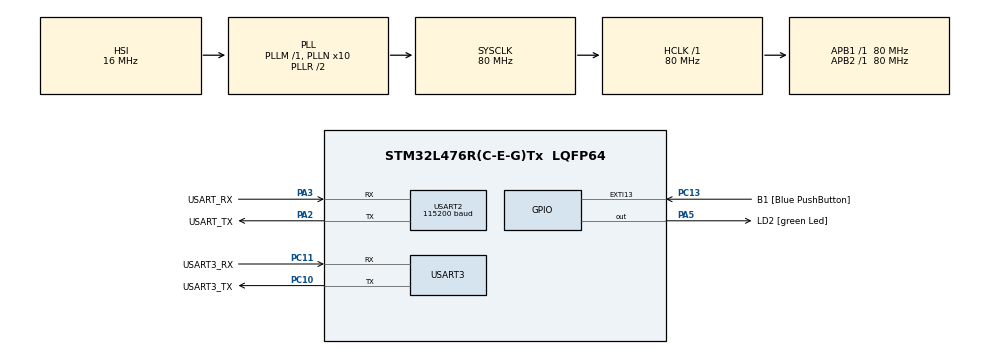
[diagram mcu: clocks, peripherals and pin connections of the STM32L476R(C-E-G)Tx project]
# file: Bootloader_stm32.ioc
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Mcu.Family=STM32L4
Mcu.Name=STM32L476R(C-E-G)Tx
Mcu.Package=LQFP64
NVIC.PriorityGroup=NVIC_PRIORITYGROUP_4
NVIC.USART2_IRQn=true\:0\:0\:false\:false\:true\:true\:true
PA13\ (JTMS-SWDIO).GPIO_Label=TMS
PA13\ (JTMS-SWDIO).Mode=Serial_Wire
PA13\ (JTMS-SWDIO).Signal=SYS_JTMS-SWDIO
PA14\ (JTCK-SWCLK).GPIO_Label=TCK
PA14\ (JTCK-SWCLK).Mode=Serial_Wire
PA14\ (JTCK-SWCLK).Signal=SYS_JTCK-SWCLK
PA2.GPIO_Label=USART_TX
PA2.GPIO_Mode=GPIO_MODE_AF_PP
PA2.GPIO_PuPd=GPIO_NOPULL
PA2.GPIO_Speed=GPIO_SPEED_FREQ_VERY_HIGH
PA2.Mode=Asynchronous
PA2.Signal=USART2_TX
PA3.GPIO_Label=USART_RX
PA3.GPIO_Mode=GPIO_MODE_AF_PP
PA3.GPIO_PuPd=GPIO_NOPULL
PA3.GPIO_Speed=GPIO_SPEED_FREQ_VERY_HIGH
PA3.Mode=Asynchronous
PA3.Signal=USART2_RX
PA5.GPIO_Label=LD2 [green Led]
PA5.GPIO_ModeDefaultOutputPP=GPIO_MODE_OUTPUT_PP
PA5.GPIO_PuPd=GPIO_NOPULL
PA5.GPIO_Speed=GPIO_SPEED_FREQ_MEDIUM
PA5.Signal=GPIO_Output
PB3\ (JTDO-TRACESWO).GPIO_Label=SWO
PB3\ (JTDO-TRACESWO).Signal=SYS_JTDO-SWO
PC10.GPIO_Label=USART3_TX
PC10.Mode=Asynchronous
PC10.Signal=USART3_TX
PC11.GPIO_Label=USART3_RX
PC11.Mode=Asynchronous
PC11.Signal=USART3_RX
PC13.GPIO_Label=B1 [Blue PushButton]
PC13.GPIO_ModeDefaultEXTI=GPIO_MODE_IT_FALLING
PC13.GPIO_PuPd=GPIO_NOPULL
PC13.Signal=GPXTI13
PC14-OSC32_IN\ (PC14).Signal=RCC_OSC32_IN
PC15-OSC32_OUT\ (PC15).Signal=RCC_OSC32_OUT
PH0-OSC_IN\ (PH0).Signal=RCC_OSC_IN
PH1-OSC_OUT\ (PH1).Signal=RCC_OSC_OUT
ProjectManager.HeapSize=0x200
ProjectManager.StackSize=0x400
ProjectManager.TargetToolchain=STM32CubeIDE
RCC.ADCFreq_Value=64000000
RCC.AHBFreq_Value=80000000
RCC.APB1Freq_Value=80000000
RCC.APB1TimFreq_Value=80000000
RCC.APB2Freq_Value=80000000
RCC.APB2TimFreq_Value=80000000
RCC.CortexFreq_Value=80000000
RCC.HCLKFreq_Value=80000000
RCC.HSE_VALUE=8000000
RCC.HSI_VALUE=16000000
RCC.LSE_VALUE=32768
RCC.MSI_VALUE=4000000
RCC.PLLN=10
RCC.PLLSourceVirtual=RCC_PLLSOURCE_HSI
RCC.PREFETCH_ENABLE=1
RCC.SYSCLKFreq_VALUE=80000000
RCC.SYSCLKSource=RCC_SYSCLKSOURCE_PLLCLK
RCC.USBFreq_Value=64000000
RCC.VCOOutputFreq_Value=160000000
USART2.BaudRate=115200
USART2.VirtualMode-Asynchronous=VM_ASYNC
USART3.VirtualMode-Asynchronous=VM_ASYNC
VP_CRC_VS_CRC.Mode=CRC_Activate
board=NUCLEO-L476RG

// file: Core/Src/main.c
/* USER CODE BEGIN Header */
/**
  ******************************************************************************
  * @file           : main.c
  * @brief          : Main program body
  ******************************************************************************
  * @attention
  *
  * <h2><center>&copy; Copyright (c) 2020 STMicroelectronics.
  * All rights reserved.</center></h2>
  *
  * This software component is licensed by ST under BSD 3-Clause license,
  * the "License"; You may not use this file except in compliance with the
  * License. You may obtain a copy of the License at:
  *                        opensource.org/licenses/BSD-3-Clause
  *
  ******************************************************************************
  */
/* USER CODE END Header */
#include "main.h"
#include "crc.h"
#include "usart.h"
#include "gpio.h"

/* USER CODE BEGIN Includes */
#include <stdarg.h>
#include <stdio.h>

/* USER CODE END Includes */

/* USER CODE BEGIN PV */
uint8_t RX_Buffer[BL_MAX_PACKET_SIZE] = {0};
uint8_t RX_char = 0;

/* USER CODE END PV */

void SystemClock_Config(void);

int main(void)
{

  /* MCU Configuration--------------------------------------------------------*/

  /* Reset of all peripherals, Initializes the Flash interface and the Systick. */
  HAL_Init();

  /* Configure the system clock */
  SystemClock_Config();

  /* Initialize all configured peripherals */
  MX_GPIO_Init();
  MX_USART2_UART_Init();
  MX_CRC_Init();
  MX_USART3_UART_Init();
  /* USER CODE BEGIN 2 */
  HAL_UART_Receive_IT(&huart2, &RX_char, 1);

  /* USER CODE END 2 */

  /* Infinite loop */
  /* USER CODE BEGIN WHILE */

  /* Branch to application or stay in bootloader based on User Button state at restart */
  if(HAL_GPIO_ReadPin(B1_GPIO_Port, B1_Pin) == GPIO_PIN_RESET)
  {
	  /* Button pressed, stay in bootloader */
	  printmsg("\n\rBL_DEBUG_MSG: Button is pressed staying in Bootloader.");
  }
  else
  {
	  /* Button not pressed, jumpt to application */
	  //printmsg("\n\rBL_DEBUG_MSG: Button is not pressed jumping to application.");
	  //BL_BootApplication();
  }

  while (1)
  {
    /* USER CODE END WHILE */

  }
}

void SystemClock_Config(void)
{
  RCC_OscInitTypeDef RCC_OscInitStruct = {0};
  RCC_ClkInitTypeDef RCC_ClkInitStruct = {0};
  RCC_PeriphCLKInitTypeDef PeriphClkInit = {0};

  /** Initializes the RCC Oscillators according to the specified parameters
  * in the RCC_OscInitTypeDef structure.
  */
  RCC_OscInitStruct.OscillatorType = RCC_OSCILLATORTYPE_HSI;
  RCC_OscInitStruct.HSIState = RCC_HSI_ON;
  RCC_OscInitStruct.HSICalibrationValue = RCC_HSICALIBRATION_DEFAULT;
  RCC_OscInitStruct.PLL.PLLState = RCC_PLL_ON;
  RCC_OscInitStruct.PLL.PLLSource = RCC_PLLSOURCE_HSI;
  RCC_OscInitStruct.PLL.PLLM = 1;
  RCC_OscInitStruct.PLL.PLLN = 10;
  RCC_OscInitStruct.PLL.PLLP = RCC_PLLP_DIV7;
  RCC_OscInitStruct.PLL.PLLQ = RCC_PLLQ_DIV2;
  RCC_OscInitStruct.PLL.PLLR = RCC_PLLR_DIV2;
  if (HAL_RCC_OscConfig(&RCC_OscInitStruct) != HAL_OK)
  {
    Error_Handler();
  }
  /** Initializes the CPU, AHB and APB buses clocks
  */
  RCC_ClkInitStruct.ClockType = RCC_CLOCKTYPE_HCLK|RCC_CLOCKTYPE_SYSCLK
                              |RCC_CLOCKTYPE_PCLK1|RCC_CLOCKTYPE_PCLK2;
  RCC_ClkInitStruct.SYSCLKSource = RCC_SYSCLKSOURCE_PLLCLK;
  RCC_ClkInitStruct.AHBCLKDivider = RCC_SYSCLK_DIV1;
  RCC_ClkInitStruct.APB1CLKDivider = RCC_HCLK_DIV1;
  RCC_ClkInitStruct.APB2CLKDivider = RCC_HCLK_DIV1;

  if (HAL_RCC_ClockConfig(&RCC_ClkInitStruct, FLASH_LATENCY_4) != HAL_OK)
  {
    Error_Handler();
  }
  PeriphClkInit.PeriphClockSelection = RCC_PERIPHCLK_USART2|RCC_PERIPHCLK_USART3;
  PeriphClkInit.Usart2ClockSelection = RCC_USART2CLKSOURCE_PCLK1;
  PeriphClkInit.Usart3ClockSelection = RCC_USART3CLKSOURCE_PCLK1;
  if (HAL_RCCEx_PeriphCLKConfig(&PeriphClkInit) != HAL_OK)
  {
    Error_Handler();
  }
  /** Configure the main internal regulator output voltage
  */
  if (HAL_PWREx_ControlVoltageScaling(PWR_REGULATOR_VOLTAGE_SCALE1) != HAL_OK)
  {
    Error_Handler();
  }
}

/* USER CODE BEGIN 4 */
/**
  * @brief Print of formatted string to console over UART.
  * @retval None
  */
void printmsg(char *format,...)
{
#if defined(BL_DEBUG_MSG_EN) && (BL_DEBUG_MSG_EN == 1)
	char str[BL_DEBUG_MSG_MAXLEN] = {0};

	/* Extract the argument list using the VA APIs */
	va_list args;
	va_start(args, format);
	vsprintf(str, format, args);
	HAL_UART_Transmit(BL_USART_HANDLE, (uint8_t*) str, sizeof(str), HAL_MAX_DELAY);
	va_end(args);
#endif
}

/**
  * @brief Function for jumping to application.
  * @retval None
  */
void BL_BootApplication(void)
{
	/* A function pointer to hold the address of the Reset Handler of user application */
	void (*app_reset_handler)(void);
	//printmsg("\n\rBL_DEBUG_MSG: BL_BootApplication.");

	/* Configuration of the MSP by reading the value from the user application base address */
	uint32_t msp_value = *((volatile uint32_t*) FLASH_BASE_ADDRESS_APPLICATION);
	__set_MSP(msp_value);
	//printmsg("\n\rBL_DEBUG_MSG: MSP value 0x%#x at address 0x%#x.", msp_value, FLASH_BASE_ADDRESS_APPLICATION);

	/* Storing the user application Reset Handler memory address */
	uint32_t addr_reset_handler = *((volatile uint32_t*) (FLASH_BASE_ADDRESS_APPLICATION + 4));
	app_reset_handler = (void*) addr_reset_handler;
	//printmsg("\n\rBL_DEBUG_MSG: App Reset handler value 0x%#x at address 0x%#x.", addr_reset_handler, (FLASH_BASE_ADDRESS_APPLICATION + 4));

	/* Jumping to Reset Handler of user application */
	app_reset_handler();
}

/**
  * @brief USART Receive callback.
  * @retval None
  */
void HAL_UART_RxCpltCallback(UART_HandleTypeDef *huart)
{
	uint8_t char_input = 0;
	uint16_t total_size = RX_Buffer[BL_CMDIDX_PAYLOAD_LENGTH] + BL_CMD_PACKET_HEADER_SIZE;
	static uint8_t index = 0;
	static uint8_t flag_header = 1;

	/* Reading received byte */
	char_input = RX_char;

	/* Parsing packet */
	if(flag_header)
	{
		if((char_input == BL_CMD_PACKET_START) && (index == BL_CMDIDX_PACKET_START))
		{
			/* Start of packet header */
			RX_Buffer[BL_CMDIDX_PACKET_START] = char_input;
			index++;
		}
		else
		{
			/* Rest of packet header */
			RX_Buffer[index] = char_input;
			if(index == BL_CMDIDX_CMDCODE)
			{
				flag_header = 0;
			}
			index++;
		}
	}
	else
	{
		/* Receiving packet body */
		if(index < total_size)
		{
			RX_Buffer[index] = char_input;
			index++;
		}
	}

	/* Packet received complete, restarting index count for receiving next packet */
	if(index == total_size)
	{
		flag_header = 1;
		index = 0;

		/* Here you must call the Bootloader commands function handler */
		/* TODO: do not pass as argument the pointer to global variable. If another interrupt occurs while processing
		 * a previously received packet, the interrupt will modify the RX_Buffer contents and the ongoing command processing
		 * will be corrupted.
		 * Solution: disable USART2 global interrupt before entering BL_Process_Command()? And re-enable it after exiting
		 * BL_Process_Command()? Can I disable an interrupt from its Callback handler, will this break something?
		 * TODO: implement a buffer/FIFO or something so that I do not pass as argument a pointer to global variable RX_Buffer,
		 * but instead I maintain in a buffer every packet being received.
		 * TODO: this callback must be kept AS SHORT AS POSSIBLE. This means that I have to append the received packets to a buffer
		 * and exit quickly this callback.
		 */
		//__disable_interrupt();
		BL_Process_Command(RX_Buffer);
		//__enable_interrupt();
	}

	/* Enabling UART receive in interrupt mode again */
	HAL_UART_Receive_IT(&huart2, &RX_char, 1);
}

/* USER CODE END 4 */

void Error_Handler(void)
{
}

/************************ (C) COPYRIGHT STMicroelectronics *****END OF FILE****/
